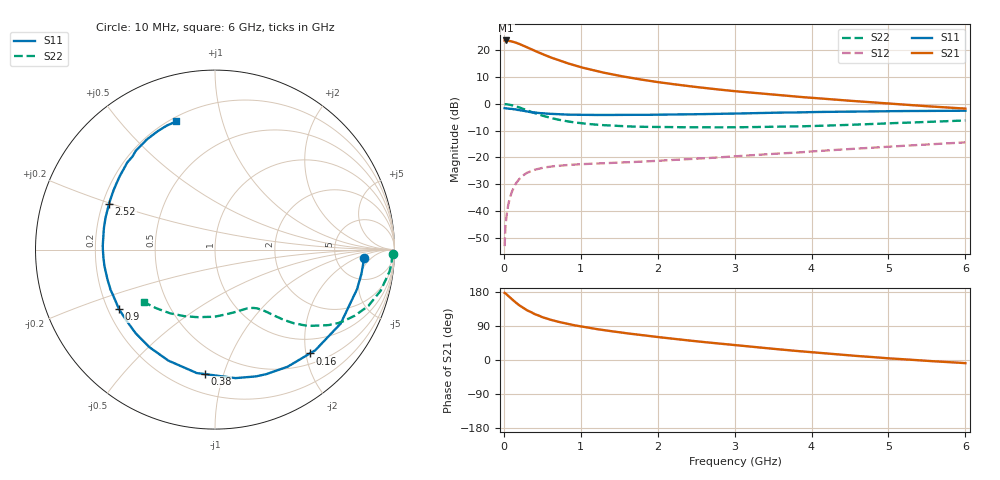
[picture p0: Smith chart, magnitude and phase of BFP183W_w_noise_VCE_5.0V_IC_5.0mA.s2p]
! Infineon Technologies  Discrete & RF Semiconductors
! BFP183W
! VCE = 5.0 V,  IC =  5.0 mA
! Common Emitter S-Parameters:  Jan 2016
# GHz  S  MA  R  50
!  f  S11  S21  S12  S22
! GHz  MAG  ANG  MAG  ANG  MAG  ANG  MAG  ANG
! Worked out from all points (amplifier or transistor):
!   210 points, 10 MHz to 6 GHz, reference 50 ohm
!   highest |S21| = 23.7 dB at 30 MHz (marker M1)
!   |S21| within 3 dB of that: start of sweep to 334.8 MHz
!   unconditionally stable (mu >= 1): 1.805 GHz to 5.766 GHz
!   at 185 MHz: K = 0.14, MSG = 25.6 dB, |S12| = -28.6 dB
!   at 1.52 GHz: K = 0.89, MSG = 16.2 dB, |S12| = -21.9 dB
!   at 6 GHz: K = 0.98, MSG = 6.3 dB, |S12| = -14.4 dB
!   lowest NFmin = 1.15 dB at 450 MHz
!   S11 on the Smith chart (normalised r, x): 10 MHz: 10, -3; 160 MHz: 0.69, -2.08; 380 MHz: 0.32, -0.87; 900 MHz: 0.24, -0.27; 2.52 GHz: 0.23, +0.20; 6 GHz: 0.22, +0.72
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0.01  0.8327 -3.2  15.3 177.2  0.0022 90.8  0.992 -1.4
0.03  0.8271 -9.5  15.34 174.3  0.0069 84.0  0.9866 -4.3
0.05  0.8214 -15.6  15.23 170.4  0.0115 81.6  0.98 -7.1
0.1  0.8124 -30.5  14.74 161.3  0.0219 74.1  0.9513 -13.9
0.16  0.7838 -47.6  13.89 150.9  0.0331 65.8  0.8997 -21.2
0.2  0.7678 -58.2  13.22 144.5  0.0394 61.1  0.8613 -25.3
0.26  0.7424 -72.1  12.16 136.7  0.0472 54.4  0.8005 -30.7
0.3  0.7251 -80.9  11.45 131.4  0.0515 50.7  0.76 -33.6
0.38  0.6958 -94.8  10.15 123.6  0.0573 44.9  0.6898 -38.0
0.4  0.6952 -98.4  9.857 121.3  0.0588 43.6  0.673 -39.2
0.5  0.6709 -112.8  8.544 113.1  0.0641 39.0  0.6044 -42.9
0.6  0.655 -124.0  7.472 106.6  0.0675 35.6  0.5509 -45.5
0.72  0.6394 -135.1  6.5 100.3  0.0702 33.1  0.5042 -47.6
0.9  0.6294 -148.1  5.355 92.2  0.0734 30.5  0.4544 -50.1
1.02  0.6223 -154.6  4.776 87.8  0.0749 30.0  0.4334 -51.5
1.5  0.6231 -175.2  3.355 73.2  0.0802 29.7  0.3861 -57.2
2.02  0.6307 168.7  2.538 60.2  0.0869 32.1  0.3695 -64.3
2.52  0.6425 156.8  2.055 49.1  0.0949 34.7  0.3653 -72.6
3.1  0.6647 144.5  1.682 37.3  0.1071 37.0  0.3671 -83.4
4.1  0.7077 127.4  1.27 19.0  0.1323 38.2  0.3898 -105.3
5.1  0.7342 114.9  0.993 3.2  0.1618 36.7  0.439 -127.3
6  0.7462 106.8  0.817 -8.3  0.1912 33.8  0.491 -143.2
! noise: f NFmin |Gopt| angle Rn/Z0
0.45  1.15  0.25  40  0.26
0.9  1.2  0.25  93  0.22
1.8  1.95  0.32  170  0.13
